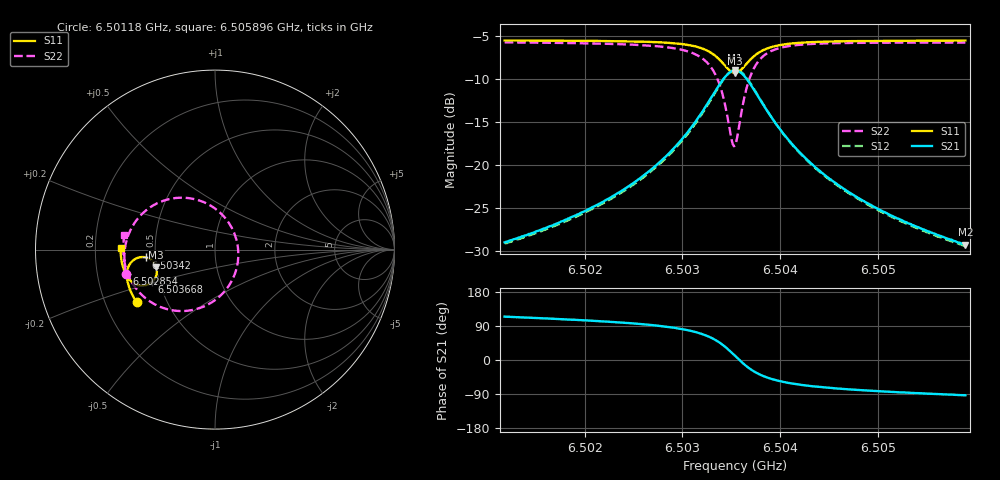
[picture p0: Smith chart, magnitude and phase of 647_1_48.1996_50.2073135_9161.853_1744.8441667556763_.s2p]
#  HZ  S  RI  R  50.00
! Rohde & Schwarz Vector Network Analyzer
! Rohde-Schwarz,ZNB20-2Port,1311601062101988,3.16
! Created: UTC 3/20/2024, 12:05:03 PM
! freq[Hz]  re:S11  im:S11  re:S21  im:S21  re:S12  im:S12  re:S22  im:S22
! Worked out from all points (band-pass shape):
!   401 points, 6.50118 GHz to 6.505896 GHz, reference 50 ohm
!   highest |S21| = -9.05 dB at 6.503538 GHz (marker M1); lowest = -29.2 dB at 6.505896 GHz (marker M2)
!   |S21| within 3 dB of the highest: 6.503303 GHz to 6.503774 GHz (471.4 kHz wide, 0.00725 % of centre)
!   lowest |S11| = -9.3 dB at 6.503538 GHz (marker M3), VSWR 2.04, Z = 24.9 - j5.54 ohm
!   |S11| at or under -10 dB: nowhere
!   |S22| runs from -17.8 to -5.8 dB; largest |S21 - S12| = 0.013
!   S11 on the Smith chart (normalised r, x): 6.50118 GHz: 0.34, -0.27; 6.502854 GHz: 0.33, -0.12; 6.50342 GHz: 0.44, -0.05; 6.503668 GHz: 0.46, -0.19; 6.505896 GHz: 0.31, +0.01
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6.5011802e9  -0.4373 -0.2935  -0.0148 0.0324  -0.0129 0.0326  -0.4953 -0.1348
6.5019701e9  -0.4696 -0.2331  -0.0138 0.0514  -0.0112 0.0507  -0.5051 -0.0471
6.5024063e9  -0.484 -0.1928  -0.0104 0.0719  -0.00713 0.0706  -0.4997 0.0187
6.5027599e9  -0.4911 -0.1515  -0.000391 0.103  0.00355 0.1005  -0.4771 0.095
6.5028542e9  -0.4914 -0.138  0.00551 0.1155  0.00953 0.1124  -0.4644 0.1218
6.5030546e9  -0.4855 -0.1034  0.0305 0.1522  0.0345 0.1474  -0.4125 0.1927
6.5031961e9  -0.4689 -0.073  0.0721 0.1872  0.0752 0.181  -0.3321 0.253
6.5033258e9  -0.4312 -0.046  0.1523 0.2136  0.1534 0.2069  -0.1862 0.2891
6.5034201e9  -0.3827 -0.044  0.2473 0.1959  0.2477 0.1908  -0.0219 0.2436
6.5035026e9  -0.3382 -0.0749  0.3283 0.1179  0.3313 0.1134  0.1079 0.09
6.503538e9  -0.327 -0.0982  0.3465 0.0673  0.3507 0.0612  0.1295 -0.00555
6.5035616e9  -0.3239 -0.1152  0.3499 0.0313  0.3545 0.0236  0.1269 -0.072
6.5035969e9  -0.3263 -0.1404  0.342 -0.0209  0.3462 -0.031  0.0982 -0.1647
6.5036677e9  -0.3495 -0.1793  0.2931 -0.1003  0.2933 -0.1131  -0.0171 -0.2934
6.503762e9  -0.3921 -0.1999  0.2115 -0.1452  0.2063 -0.1565  -0.1836 -0.3423
6.5038327e9  -0.4191 -0.1999  0.1619 -0.1505  0.1547 -0.1592  -0.2764 -0.3292
6.5039152e9  -0.4431 -0.1927  0.1198 -0.1441  0.1121 -0.1503  -0.3506 -0.2964
6.5040803e9  -0.473 -0.1714  0.07 -0.1222  0.0629 -0.1249  -0.4315 -0.2269
6.5043278e9  -0.4958 -0.1401  0.0357 -0.0941  0.0305 -0.0949  -0.4808 -0.1469
6.5046933e9  -0.5119 -0.1003  0.0154 -0.0685  0.0118 -0.0682  -0.5048 -0.0683
6.5051177e9  -0.5211 -0.06  0.00561 -0.0514  0.00296 -0.0507  -0.5112 -0.00439
6.5058957e9  -0.5263 0.00683  -0.00179 -0.0345  -0.00337 -0.0337  -0.5047 0.0818
